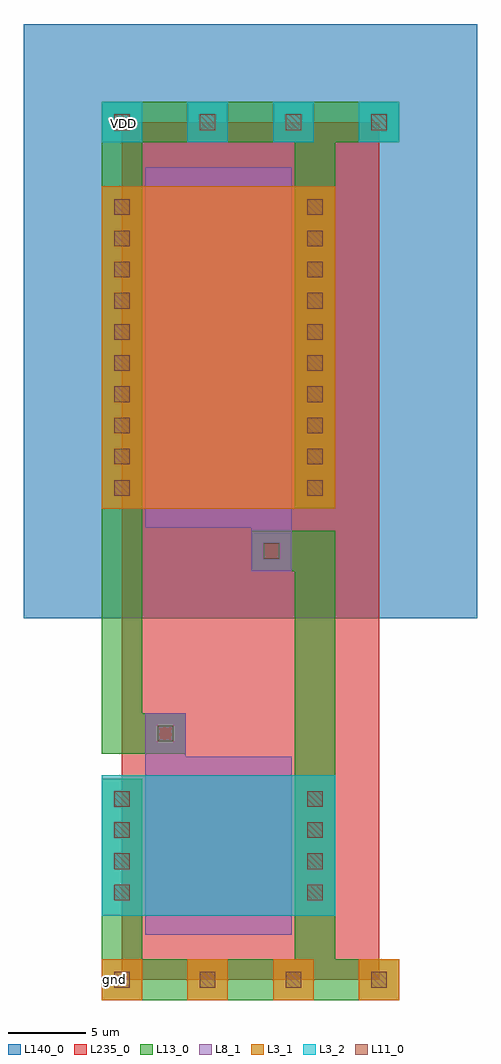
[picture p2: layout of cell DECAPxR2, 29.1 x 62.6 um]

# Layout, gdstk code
import gdstk
lib = gdstk.Library(unit=1e-6, precision=1e-09)
def R(c, l, rs):  # rectangles x0, y0, x1, y1
    for r in rs: c.add(gdstk.rectangle(r[:2], r[2:], *l))
def A(c, l, x, y, w, h, nx, ny, dx, dy):  # array of equal rectangles
    R(c, l, [(x+i*dx, y+j*dy, x+i*dx+w, y+j*dy+h) for i in range(nx) for j in range(ny)])
L3_1 = (3, 1)
L3_2 = (3, 2)
L8_1 = (8, 1)
L11_0 = (11, 0)
L13_0 = (13, 0)
L140_0 = (140, 0)
L235_0 = (235, 0)

cont_n_8 = lib.new_cell('cont_n$8')
R(cont_n_8, L3_2, [(-1.3,-1.3,1.3,1.3)])
R(cont_n_8, L11_0, [(-0.5,-0.5,0.5,0.5)])
R(cont_n_8, L13_0, [(-1.3,-1.3,1.3,1.3)])

cont_p_8 = lib.new_cell('cont_p$8')
R(cont_p_8, L3_1, [(-1.3,-1.3,1.3,1.3)])
R(cont_p_8, L11_0, [(-0.5,-0.5,0.5,0.5)])
R(cont_p_8, L13_0, [(-1.3,-1.3,1.3,1.3)])

cont_g_7 = lib.new_cell('cont_g$7')
R(cont_g_7, L8_1, [(-1.3,-1.3,1.3,1.3)])
R(cont_g_7, L11_0, [(-0.5,-0.5,0.5,0.5)])
R(cont_g_7, L13_0, [(-1.3,-1.3,1.3,1.3)])

fet_p_1_3 = lib.new_cell('fet_p$1$3')
R(fet_p_1_3, L3_1, [(-7.5,-10.35,7.5,10.35)])
A(fet_p_1_3, L11_0, -6.7, -9.5, 1, 1, 1, 10, 0, 2)
A(fet_p_1_3, L11_0, 5.7, -9.5, 1, 1, 1, 10, 0, 2)
R(fet_p_1_3, L13_0, [(-7.5,-10.3,-4.9,10.3), (4.9,-10.3,7.5,10.3)])
fet_p_1_3.add(gdstk.FlexPath([(0,-11.55),(0,11.55)], 9.4, ends="flush", simple_path=True, layer=8, datatype=1))  # L8_1

fet_n_3 = lib.new_cell('fet_n$3')
R(fet_n_3, L3_2, [(-7.5,-4.5,7.5,4.5)])
A(fet_n_3, L11_0, -6.7, -3.5, 1, 1, 1, 4, 0, 2)
A(fet_n_3, L11_0, 5.7, -3.5, 1, 1, 1, 4, 0, 2)
R(fet_n_3, L13_0, [(-7.5,-4.3,-4.9,4.3), (4.9,-4.3,7.5,4.3)])
fet_n_3.add(gdstk.FlexPath([(0,-5.7),(0,5.7)], 9.4, ends="flush", simple_path=True, layer=8, datatype=1))  # L8_1

decapxr2 = lib.new_cell('DECAPxR2')
R(decapxr2, L8_1, [(2,14.3,4.6,14.5), (8.8,28.8,11.4,29)])
R(decapxr2, L140_0, [(-5.8,23.2,23.3,61.3)])
R(decapxr2, L235_0, [(0.5,0,17,55)])
decapxr2.add(gdstk.FlexPath([(3.3,15.8),(0.5,15.8),(0.5,31.5)], 2.6, ends="extended", simple_path=True, layer=13, datatype=0))  # L13_0
decapxr2.add(gdstk.FlexPath([(12.9,11.6),(12.9,27.5),(10.1,27.5)], 2.6, ends="extended", simple_path=True, layer=13, datatype=0))  # L13_0
decapxr2.add(gdstk.FlexPath([(12.9,5.6),(12.9,0)], 2.6, ends="extended", simple_path=True, layer=13, datatype=0))  # L13_0
decapxr2.add(gdstk.FlexPath([(0.5,49.547),(0.5,54.997)], 2.6, ends="extended", simple_path=True, layer=13, datatype=0))  # L13_0
decapxr2.add(gdstk.FlexPath([(0.5,5.6),(0.5,0)], 2.6, ends="extended", simple_path=True, layer=13, datatype=0))  # L13_0
decapxr2.add(gdstk.FlexPath([(12.9,49.55),(12.9,55)], 2.6, ends="extended", simple_path=True, layer=13, datatype=0))  # L13_0
decapxr2.add(gdstk.FlexPath([(0.5,55),(17,55)], 2.6, ends="extended", simple_path=True, layer=13, datatype=0))  # L13_0
decapxr2.add(gdstk.FlexPath([(0.5,0),(17,0)], 2.6, ends="extended", simple_path=True, layer=13, datatype=0))  # L13_0
decapxr2.add(gdstk.Reference(cont_n_8, (0.5,55)))
decapxr2.add(gdstk.Reference(cont_n_8, (6,55)))
decapxr2.add(gdstk.Reference(cont_n_8, (11.5,55)))
decapxr2.add(gdstk.Reference(cont_n_8, (17,55)))
decapxr2.add(gdstk.Reference(cont_p_8, (0.5,0)))
decapxr2.add(gdstk.Reference(cont_p_8, (6,0)))
decapxr2.add(gdstk.Reference(cont_p_8, (11.5,0)))
decapxr2.add(gdstk.Reference(cont_p_8, (17,0)))
decapxr2.add(gdstk.Reference(cont_g_7, (3.3,15.8)))
decapxr2.add(gdstk.Reference(fet_p_1_3, (6.7,40.55)))
decapxr2.add(gdstk.Reference(fet_n_3, (6.7,8.6)))
decapxr2.add(gdstk.Reference(cont_g_7, (10.1,27.5)))
decapxr2.add(gdstk.Label('VDD', (0.6,54.9), layer=48, texttype=0))
decapxr2.add(gdstk.Label('gnd', (0,0), layer=48, texttype=0))

lib.write_gds('DECAPxR2.gds')
